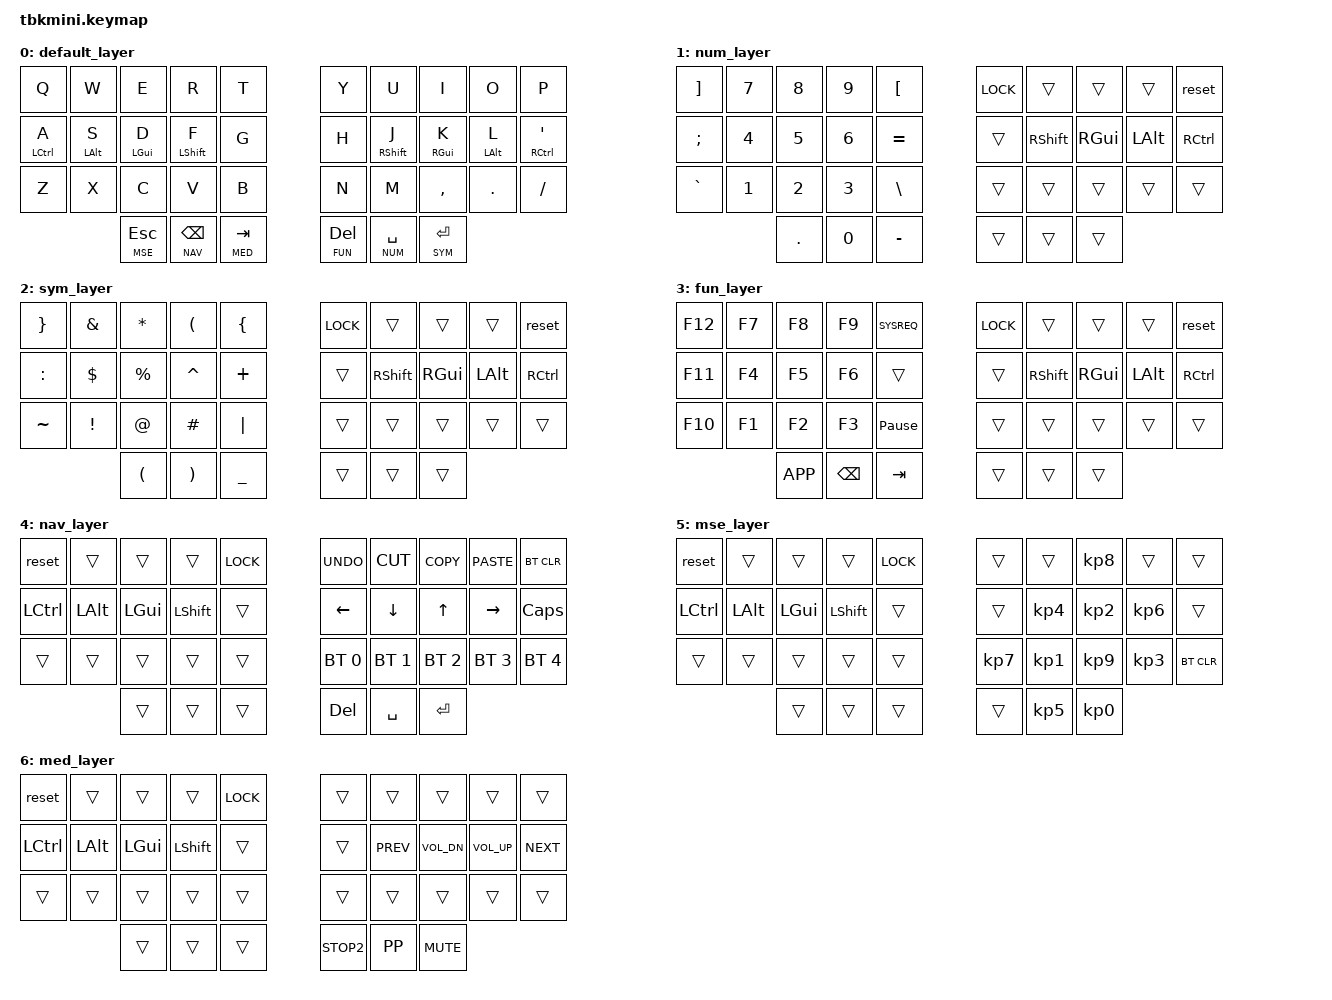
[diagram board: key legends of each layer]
#include <behaviors.dtsi>
#include <dt-bindings/zmk/keys.h>
#include <dt-bindings/zmk/bt.h>

#define DEFAULT 0
#define NUM 1
#define SYM 2
#define FUN 3
#define NAV 4
#define MSE 5
#define MED 6

&lt {
  tapping-term-ms = <300>;
  quick_tap_ms = <200>;
  flavor = "hold-preferred";
};

/ {
  chosen {
    zmk,matrix_transform = &skeletyl_transform;
  };

  behaviors {
    hm: homerow_mods {
      compatible = "zmk,behavior-hold-tap";
      label = "HOMEROW_MODS";
      #binding-cells = <2>;
      tapping-term-ms = <150>;
      quick_tap_ms = <0>;
      flavor = "tap-preferred";
      bindings = <&kp>, <&kp>;
    };
  };

  keymap {
        compatible = "zmk,keymap";

        default_layer {
            bindings = <
	&kp Q      &kp W      &kp E       &kp R        &kp T          &kp Y &kp U       &kp I       &kp O      &kp P
	&hm LCTRL A &hm LALT S &hm LGUI D &hm LSHFT F  &kp G          &kp H &hm RSHFT J &hm RGUI K  &hm LALT L &hm RCTRL SQT
	&kp Z      &kp X      &kp C       &kp V        &kp B          &kp N &kp M       &kp COMMA   &kp DOT    &kp FSLH
	           &lt MSE ESC   &lt NAV BSPC   &lt MED TAB          &lt FUN DEL  &lt NUM SPACE  &lt SYM RET
            >;
        };
        num_layer {
            bindings = <
	&kp RBKT  &kp N7 &kp N8 &kp N9 &kp LBKT        &kp K_LOCK &trans    &trans    &trans   &reset
	&kp SEMI  &kp N4 &kp N5 &kp N6 &kp EQUAL       &trans     &kp RSHFT &kp RGUI &kp LALT &kp RCTRL
	&kp GRAVE &kp N1 &kp N2 &kp N3 &kp BSLH        &trans     &trans    &trans    &trans   &trans
	           &kp DOT   &kp N0   &kp MINUS        &trans &trans &trans
            >;
        };
        sym_layer {
            bindings = <
	&kp RBRC  &kp AMPS &kp STAR  &kp LPAR  &kp LBRC        &kp K_LOCK &trans  &trans     &trans   &reset
	&kp COLON &kp DLLR &kp PRCNT &kp CARET &kp PLUS        &trans &kp RSHFT  &kp RGUI  &kp LALT  &kp RCTRL
	&kp TILDE &kp EXCL &kp AT    &kp HASH  &kp PIPE        &trans &trans  &trans &trans &trans
	                  &kp LPAR  &kp RPAR   &kp UNDER              &trans &trans &trans
            >;
        };
        fun_layer {
            bindings = <
	&kp F12 &kp F7 &kp F8 &kp F9 &kp SYSREQ        &kp K_LOCK &trans  &trans     &trans   &reset
	&kp F11 &kp F4 &kp F5 &kp F6 &trans            &trans &kp RSHFT  &kp RGUI  &kp LALT  &kp RCTRL
	&kp F10 &kp F1 &kp F2 &kp F3 &kp PAUSE_BREAK   &trans &trans  &trans &trans &trans
	                  &kp K_APP   &kp BSPC   &kp TAB     &trans &trans &trans
            >;
        };
        nav_layer {
            bindings = <
	&reset   &trans   &trans    &trans     &kp K_LOCK   &kp K_UNDO &kp K_CUT &kp K_COPY &kp K_PASTE &bt BT_CLR
	&kp LCTRL &kp LALT &kp LGUI &kp LSHFT &trans       &kp LEFT   &kp DOWN  &kp UP     &kp RIGHT   &kp CAPS
	&trans   &trans   &trans    &trans     &trans       &bt BT_SEL 0   &bt BT_SEL 1 &bt BT_SEL 2  &bt BT_SEL 3     &bt BT_SEL 4
	                  &trans   &trans   &trans                 &kp DEL &kp SPACE &kp RET
            >;
        };
        mse_layer {
            bindings = <
	&reset   &trans   &trans    &trans     &kp K_LOCK   &trans &trans &kp KP_N8 &trans &trans 
	&kp LCTRL &kp LALT &kp LGUI &kp LSHFT &trans       &trans &kp KP_N4 &kp KP_N2 &kp KP_N6 &trans
	&trans   &trans   &trans    &trans     &trans       &kp KP_N7 &kp KP_N1 &kp KP_N9 &kp KP_N3 &bt BT_CLR
	                  &trans   &trans   &trans                 &trans &kp KP_N5 &kp KP_N0
            >;
        };
        med_layer {
            bindings = <
	&reset   &trans   &trans    &trans     &kp K_LOCK   &trans &trans     &trans       &trans       &trans
	&kp LCTRL &kp LALT &kp LGUI &kp LSHFT &trans       &trans &kp K_PREV &kp K_VOL_DN &kp K_VOL_UP &kp K_NEXT
	&trans   &trans   &trans    &trans     &trans       &trans &trans     &trans       &trans       &trans
	                  &trans   &trans   &trans                 &kp K_STOP2 &kp K_PP &kp K_MUTE
            >;
        };
    };
};
